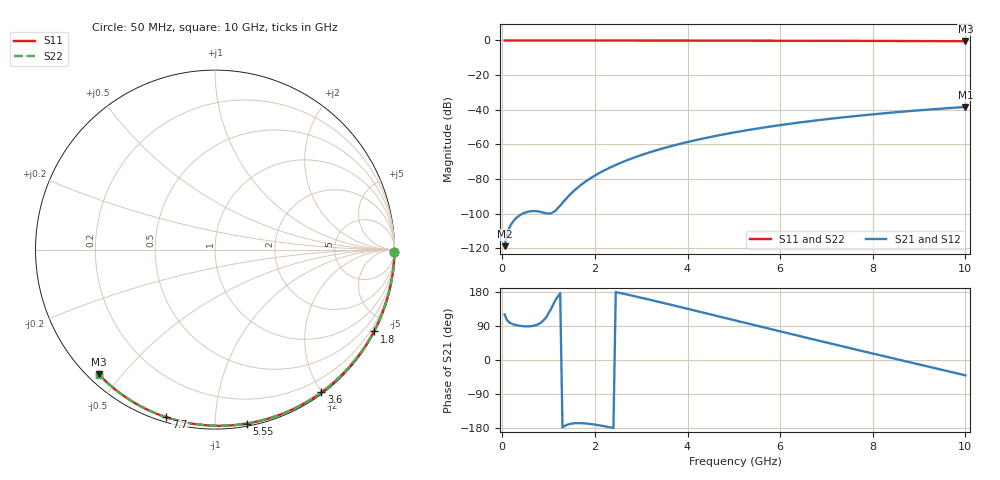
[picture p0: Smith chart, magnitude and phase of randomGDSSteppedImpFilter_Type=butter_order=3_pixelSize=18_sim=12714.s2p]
! freq	dB(S11)	phase(S11)	dB(S12)	phase(S12)
!  dB(S21)	phase(S21)	dB(S22)	phase(S22)
!S-par simulation data
#  GHz  S  DB  R 50
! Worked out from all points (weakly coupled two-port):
!   200 points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, 50 MHz to 10 GHz, reference 50 ohm
!   highest |S21| = -38.39 dB at 10 GHz (marker M1); lowest = -118.7 dB at 50 MHz (marker M2)
!   lowest |S11| = -0.4 dB at 10 GHz (marker M3), VSWR 38.89, Z = 1.53 - j21.8 ohm
!   |S11| at or under -10 dB: nowhere
!   |S22| runs from -0.4 to 0.0 dB; largest |S21 - S12| = 0
!   S11 on the Smith chart (normalised r, x): 50 MHz: open; 1.8 GHz: 0.04, -4.12; 3.6 GHz: 0.02, -1.99; 5.55 GHz: 0.02, -1.20; 7.7 GHz: 0.02, -0.75; 10 GHz: 0.03, -0.44
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0.05  -0.00 -0.8  -118.74 120.3  -118.74 120.3  -0.00 -0.8
0.9  -0.02 -13.8  -99.48 106.0  -99.48 106.0  -0.02 -13.7
1.75  -0.03 -26.5  -82.36 -166.9  -82.36 -166.9  -0.03 -26.5
1.8  -0.03 -27.3  -81.40 -167.4  -81.40 -167.4  -0.03 -27.2
1.85  -0.04 -28.0  -80.49 -168.1  -80.49 -168.1  -0.04 -28.0
1.9  -0.04 -28.7  -79.62 -168.8  -79.62 -168.8  -0.04 -28.7
2.05  -0.04 -31.0  -77.20 -171.5  -77.20 -171.5  -0.04 -30.9
2.25  -0.04 -33.9  -74.35 -175.8  -74.35 -175.8  -0.04 -33.9
2.45  -0.05 -36.8  -71.84 179.3  -71.84 179.3  -0.05 -36.8
2.65  -0.05 -39.7  -69.60 174.0  -69.60 174.0  -0.05 -39.7
3  -0.06 -44.8  -66.17 164.3  -66.17 164.3  -0.06 -44.7
3.4  -0.07 -50.5  -62.82 152.8  -62.82 152.8  -0.07 -50.4
3.6  -0.07 -53.3  -61.33 147.0  -61.33 147.0  -0.07 -53.2
4.3  -0.09 -63.0  -56.81 126.2  -56.81 126.2  -0.09 -62.9
5.05  -0.11 -73.0  -52.88 103.9  -52.88 103.9  -0.11 -73.0
5.55  -0.13 -79.6  -50.66 88.9  -50.66 88.9  -0.13 -79.5
6.1  -0.15 -86.6  -48.49 72.6  -48.49 72.6  -0.15 -86.5
6.7  -0.18 -94.1  -46.40 54.9  -46.40 54.9  -0.18 -94.0
7.7  -0.24 -106.2  -43.44 25.7  -43.44 25.7  -0.24 -106.2
8.35  -0.29 -113.9  -41.78 6.9  -41.78 6.9  -0.29 -113.8
9.15  -0.36 -123.2  -40.00 -16.1  -40.00 -16.1  -0.36 -123.1
10  -0.45 -132.9  -38.39 -40.5  -38.39 -40.5  -0.45 -132.9
